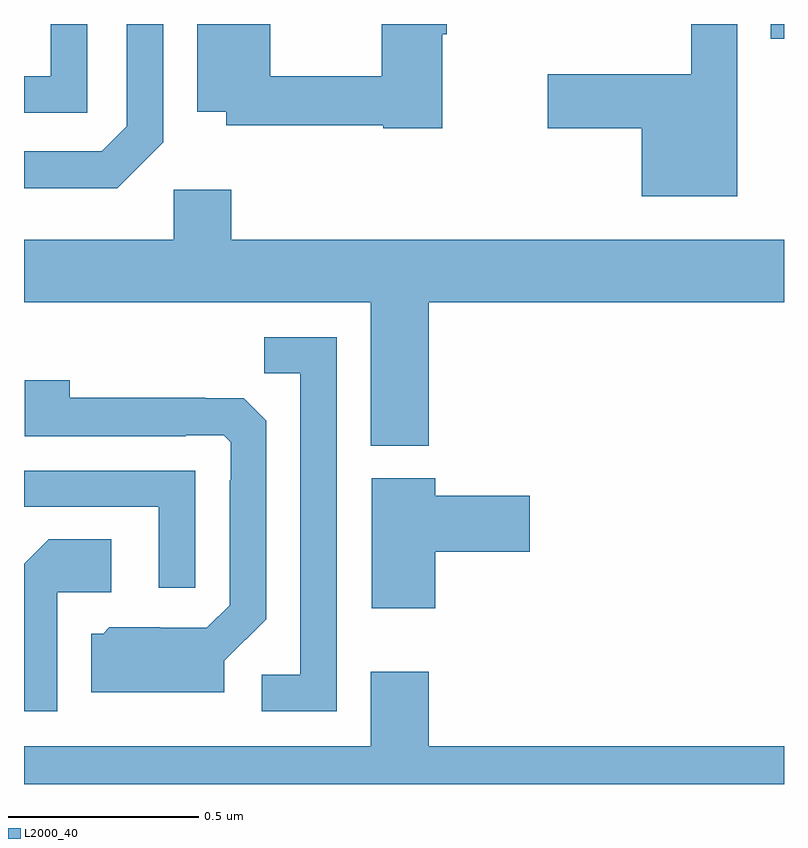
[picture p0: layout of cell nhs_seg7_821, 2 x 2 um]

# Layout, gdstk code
import gdstk
lib = gdstk.Library(unit=1e-6, precision=1e-09)
def R(c, l, rs):  # rectangles x0, y0, x1, y1
    for r in rs: c.add(gdstk.rectangle(r[:2], r[2:], *l))
def P(c, l, *ps):  # polygons
    for p in ps: c.add(gdstk.Polygon(p, *l))
L2000_40 = (2000, 40)

nhs_seg7_821 = lib.new_cell('nhs_seg7_821')
R(nhs_seg7_821, L2000_40, [(123.965,1015.961,124,1016)])
P(nhs_seg7_821, L2000_40, [(123.1,1015.973),(123.113,1015.973),(123.113,1016),(122.942,1016),(122.942,1015.862),(122.648,1015.862),(122.648,1016),(122.456,1016),(122.456,1015.769),(122.532,1015.769),(122.532,1015.734),(122.946,1015.734),(122.946,1015.726),(123.1,1015.726)],
  [(123.877,1016),(123.756,1016),(123.756,1015.868),(123.378,1015.868),(123.378,1015.726),(123.626,1015.726),(123.626,1015.547),(123.877,1015.547)],
  [(122.166,1016),(122.07,1016),(122.07,1015.863),(122,1015.863),(122,1015.767),(122.166,1015.767)],
  [(122.367,1015.689),(122.367,1016),(122.271,1016),(122.271,1015.731),(122.205,1015.665),(122,1015.665),(122,1015.568),(122.246,1015.568)],
  [(123.065,1015.268),(124,1015.268),(124,1015.432),(122.546,1015.432),(122.546,1015.564),(122.394,1015.564),(122.394,1015.432),(122,1015.432),(122,1015.268),(122.912,1015.268),(122.912,1014.89),(123.065,1014.89)],
  [(122.823,1015.176),(122.632,1015.176),(122.632,1015.081),(122.727,1015.081),(122.727,1014.288),(122.625,1014.288),(122.625,1014.192),(122.823,1014.192)],
  [(122.527,1014.324),(122.637,1014.434),(122.637,1014.956),(122.578,1015.015),(122.477,1015.015),(122.477,1015.016),(122.121,1015.016),(122.121,1015.063),(122.002,1015.063),(122.002,1014.915),(122.426,1014.915),(122.426,1014.918),(122.526,1014.918),(122.544,1014.9),(122.544,1014.8),(122.541,1014.8),(122.541,1014.471),(122.481,1014.411),(122.358,1014.411),(122.358,1014.412),(122.224,1014.412),(122.208,1014.396),(122.177,1014.396),(122.177,1014.242),(122.527,1014.242)],
  [(122.451,1014.825),(122,1014.825),(122,1014.729),(122.355,1014.729),(122.355,1014.516),(122.451,1014.516)],
  [(123.082,1014.611),(123.331,1014.611),(123.331,1014.758),(123.082,1014.758),(123.082,1014.805),(122.915,1014.805),(122.915,1014.462),(123.082,1014.462)],
  [(122.088,1014.504),(122.23,1014.504),(122.23,1014.644),(122.065,1014.644),(122,1014.579),(122,1014.192),(122.088,1014.192)],
  [(124,1014.1),(123.065,1014.1),(123.065,1014.295),(122.912,1014.295),(122.912,1014.1),(122,1014.1),(122,1014),(124,1014)])

lib.write_gds('nhs_seg7_821.gds')
